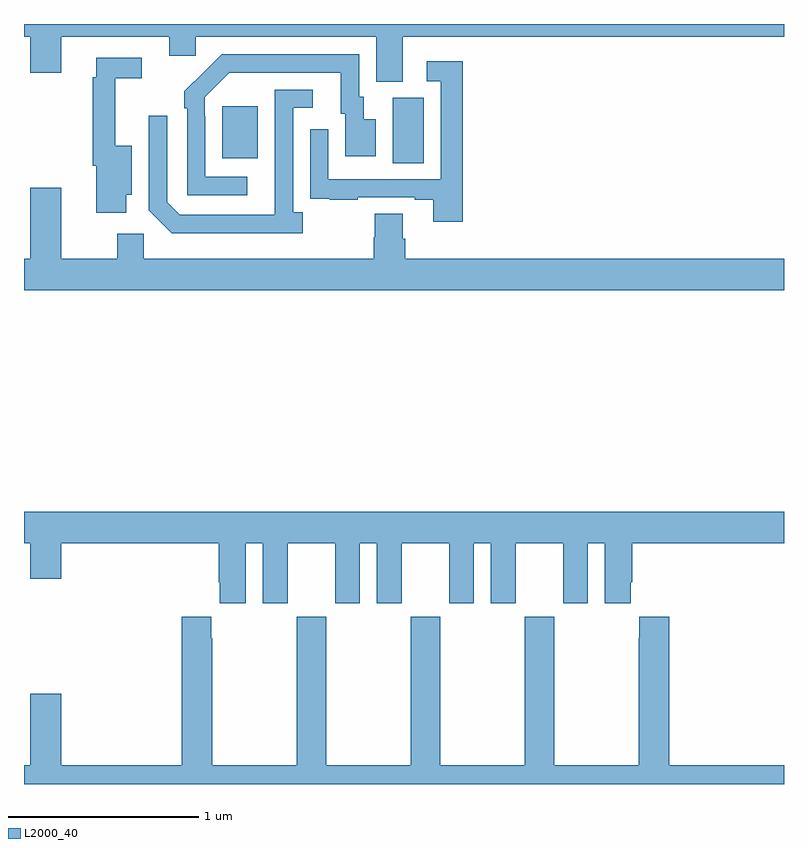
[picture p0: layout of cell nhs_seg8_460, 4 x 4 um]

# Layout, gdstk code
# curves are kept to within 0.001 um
import gdstk
lib = gdstk.Library(unit=1e-6, precision=1e-09)
def R(c, l, rs):  # rectangles x0, y0, x1, y1
    for r in rs: c.add(gdstk.rectangle(r[:2], r[2:], *l))
def P(c, l, *ps):  # polygons
    for p in ps: c.add(gdstk.Polygon(p, *l))
L2000_40 = (2000, 40)

nhs_seg8_460 = lib.new_cell('nhs_seg8_460')
R(nhs_seg8_460, L2000_40, [(142.94,1117.168,143.104,1117.512), (142.043,1117.193,142.231,1117.468)])
P(nhs_seg8_460, L2000_40, [(141,1117.832),(141.032,1117.832),(141.032,1117.644),(141.196,1117.644),(141.196,1117.832),(141.764,1117.832),(141.764,1117.734),(141.903,1117.734),(141.903,1117.832),(142.853,1117.832),(142.853,1117.597),(142.993,1117.597),(142.993,1117.832),(145,1117.832),(145,1117.9),(141,1117.9)],
  [(142.174,1117.095),(141.954,1117.095),(141.954,1117.415),(141.951,1117.415),(141.951,1117.515),(142.08,1117.644),(142.667,1117.644),(142.667,1117.428),(142.691,1117.428),(142.691,1117.203),(142.852,1117.203),(142.852,1117.399),(142.789,1117.399),(142.789,1117.518),(142.764,1117.518),(142.764,1117.74),(142.04,1117.74),(141.843,1117.545),(141.843,1117.457),(141.858,1117.457),(141.858,1116.999),(142.174,1116.999)],
  [(141.538,1117.001),(141.568,1117.001),(141.568,1117.258),(141.479,1117.258),(141.479,1117.614),(141.619,1117.614),(141.619,1117.722),(141.38,1117.722),(141.38,1117.619),(141.361,1117.619),(141.361,1117.154),(141.38,1117.154),(141.38,1116.906),(141.538,1116.906)],
  [(143.309,1117.705),(143.121,1117.705),(143.121,1117.599),(143.193,1117.599),(143.193,1117.083),(142.602,1117.083),(142.602,1117.345),(142.506,1117.345),(142.506,1117.09),(142.507,1117.09),(142.507,1116.981),(142.609,1116.981),(142.609,1116.975),(142.757,1116.975),(142.757,1116.987),(143.057,1116.987),(143.057,1116.975),(143.153,1116.975),(143.153,1116.858),(143.309,1116.858)],
  [(142.468,1116.91),(142.416,1116.91),(142.416,1117.458),(142.519,1117.458),(142.519,1117.554),(142.32,1117.554),(142.319,1116.897),(141.819,1116.897),(141.753,1116.963),(141.753,1117.417),(141.657,1117.417),(141.657,1116.921),(141.778,1116.8),(142.468,1116.8)],
  [(145,1116.664),(143.006,1116.664),(143.006,1116.77),(142.993,1116.77),(142.993,1116.902),(142.846,1116.902),(142.846,1116.777),(142.841,1116.777),(142.841,1116.664),(141.63,1116.664),(141.63,1116.796),(141.491,1116.796),(141.491,1116.664),(141.196,1116.664),(141.196,1117.039),(141.032,1117.039),(141.032,1116.664),(141,1116.664),(141,1116.5),(145,1116.5)],
  [(142.168,1115.168),(142.256,1115.168),(142.256,1114.851),(142.387,1114.851),(142.387,1115.168),(142.637,1115.168),(142.637,1114.851),(142.768,1114.851),(142.768,1115.168),(142.856,1115.168),(142.856,1114.851),(142.987,1114.851),(142.987,1115.168),(143.237,1115.168),(143.237,1114.851),(143.368,1114.851),(143.368,1115.168),(143.456,1115.168),(143.456,1114.851),(143.587,1114.851),(143.587,1115.168),(143.837,1115.168),(143.837,1114.851),(143.968,1114.851),(143.968,1115.168),(144.056,1115.168),(144.056,1114.851),(144.193,1114.851),(144.193,1114.963),(144.2,1114.963),(144.2,1115.168),(145,1115.168),(145,1115.332),(141,1115.332),(141,1115.168),(141.032,1115.168),(141.032,1114.98),(141.196,1114.98),(141.196,1115.168),(142.025,1115.168),(142.025,1114.963),(142.031,1114.963),(142.031,1114.851),(142.168,1114.851)],
  [(144.239,1114.78),(144.239,1114.667),(144.235,1114.667),(144.235,1114),(143.79,1114),(143.79,1114.78),(143.635,1114.78),(143.635,1114),(143.19,1114),(143.19,1114.78),(143.035,1114.78),(143.035,1114),(142.59,1114),(142.59,1114.78),(142.435,1114.78),(142.435,1114),(141.99,1114),(141.99,1114.667),(141.985,1114.667),(141.985,1114.78),(141.83,1114.78),(141.83,1114),(141.196,1114),(141.196,1114.375),(141.032,1114.375),(141.032,1114),(141,1114),(141,1113.9),(145,1113.9),(145,1114),(144.395,1114),(144.395,1114.78)])

lib.write_gds('nhs_seg8_460.gds')
